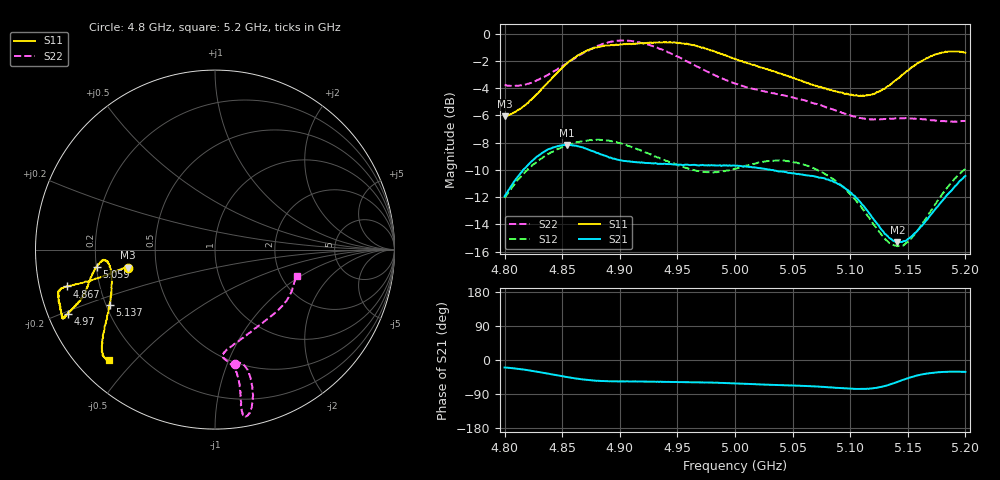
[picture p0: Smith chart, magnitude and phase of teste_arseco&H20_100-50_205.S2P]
! Network Analyzer HP8722D
! Hewlett-Packard
! Data name: Linha & Wilkinson
! Saver's name: Rodrigo Anjos
! Comments: Teste da utilização de aquisição
! continua pelo VNA HP8722D
! Time and date: 6/5/2025 14:16
!  Frequency  S11  S21  S12  S22
# HZ  S  MA R 50
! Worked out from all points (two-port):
!   401 points, 4.8 GHz to 5.2 GHz, reference 50 ohm
!   highest |S21| = -8.16 dB at 4.854 GHz (marker M1); lowest = -15.3 dB at 5.141 GHz (marker M2)
!   |S21| within 3 dB of the highest: 4.806 GHz to 5.093 GHz (286.6 MHz wide, 5.79 % of centre); 5.191539 GHz to end of sweep
!   lowest |S11| = -6.1 dB at 4.8 GHz (marker M3), VSWR 2.98, Z = 16.9 - j4.55 ohm
!   |S11| at or under -10 dB: nowhere
!   |S22| runs from -6.5 to -0.5 dB; largest |S21 - S12| = 0.62
!   S11 on the Smith chart (normalised r, x): 4.8 GHz: 0.34, -0.09; 4.867 GHz: 0.08, -0.12; 4.97 GHz: 0.06, -0.21; 5.059 GHz: 0.20, -0.07; 5.137 GHz: 0.21, -0.24; 5.2 GHz: 0.09, -0.42
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4.8e9  0.4977 -168.3  0.2531 -19.7  0.2494 -141.0  0.6475 -80.3
4.828e9  0.6008 -167.1  0.3539 -30.8  0.338 -145.1  0.6747 -75.5
4.854e9  0.7769 -165.9  0.3907 -45.2  0.3886 -150.1  0.7787 -74.8
4.867e9  0.8487 -166.0  0.3833 -50.9  0.4027 -152.1  0.8428 -75.4
4.879e9  0.8911 -165.7  0.3666 -54.5  0.4072 -154.2  0.8951 -76.7
4.899e9  0.9109 -163.0  0.3438 -56.6  0.3974 -156.8  0.9436 -79.1
4.915e9  0.9196 -159.6  0.3373 -56.9  0.3773 -157.3  0.9333 -80.4
4.934e9  0.9311 -156.6  0.3327 -57.6  0.3506 -155.7  0.882 -80.6
4.97e9  0.8944 -156.5  0.3294 -59.2  0.3125 -147.0  0.748 -79.7
5e9  0.8093 -159.1  0.328 -61.8  0.3196 -137.3  0.6562 -81.3
5.034e9  0.7278 -165.2  0.3145 -65.9  0.3417 -134.4  0.6048 -85.6
5.059e9  0.6669 -171.5  0.3038 -68.3  0.3312 -136.2  0.5717 -84.4
5.067e9  0.6501 -173.0  0.3007 -69.2  0.3223 -136.9  0.5569 -82.6
5.084e9  0.6207 -174.6  0.2887 -72.3  0.2947 -138.5  0.529 -76.2
5.101e9  0.5977 -172.1  0.2602 -75.8  0.2548 -138.9  0.4997 -66.4
5.115e9  0.5945 -166.0  0.2238 -75.7  0.2146 -135.9  0.4866 -56.4
5.134e9  0.6454 -154.3  0.1777 -65.2  0.1703 -120.7  0.4876 -43.2
5.137e9  0.6631 -152.4  0.1739 -62.2  0.1675 -116.8  0.4881 -41.4
5.141e9  0.6833 -150.3  0.1712 -57.8  0.1659 -111.6  0.489 -39.1
5.154e9  0.7561 -144.5  0.1811 -44.5  0.1793 -95.0  0.4882 -32.2
5.174e9  0.84 -138.6  0.2271 -32.8  0.2374 -80.3  0.4797 -23.9
5.2e9  0.8522 -133.8  0.3004 -31.5  0.3196 -77.0  0.4787 -17.6
